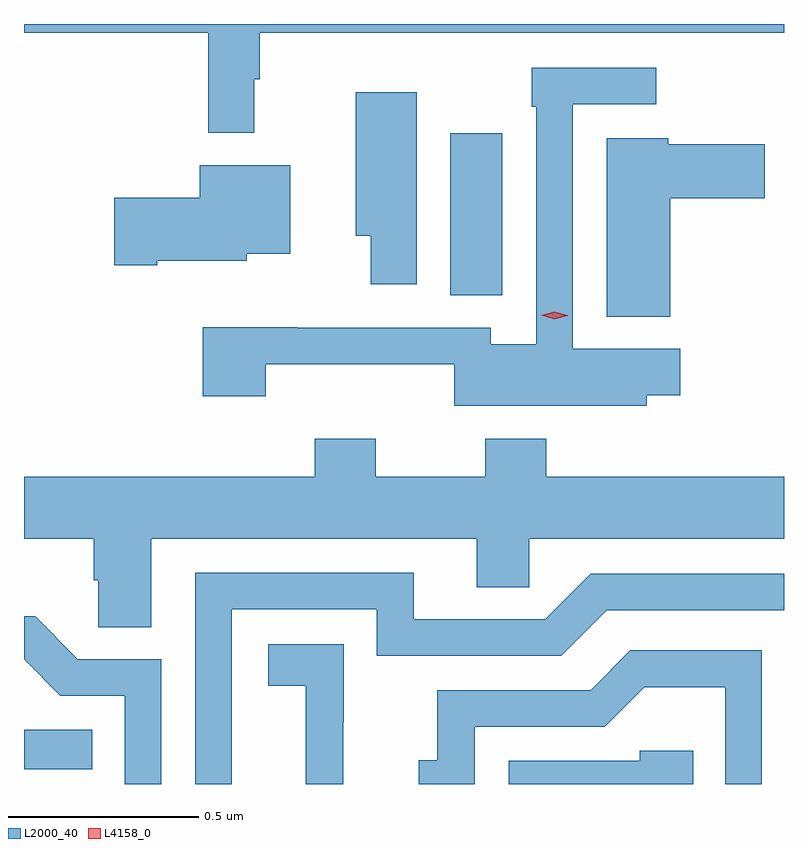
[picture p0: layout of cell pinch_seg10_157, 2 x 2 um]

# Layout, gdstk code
import gdstk
lib = gdstk.Library(unit=1e-6, precision=1e-09)
def R(c, l, rs):  # rectangles x0, y0, x1, y1
    for r in rs: c.add(gdstk.rectangle(r[:2], r[2:], *l))
def P(c, l, *ps):  # polygons
    for p in ps: c.add(gdstk.Polygon(p, *l))
L2000_40 = (2000, 40)
L4158_0 = (4158, 0)

pinch_seg10_157 = lib.new_cell('pinch_seg10_157')
R(pinch_seg10_157, L2000_40, [(670.388,1274.402,670.568,1274.506), (671.51,1275.649,671.647,1276.075)])
P(pinch_seg10_157, L2000_40, [(670.994,1276.217),(671.009,1276.217),(671.009,1276.34),(672.388,1276.34),(672.388,1276.363),(670.388,1276.363),(670.388,1276.34),(670.873,1276.34),(670.873,1276.077),(670.994,1276.077)],
  [(672.027,1275.386),(672.115,1275.386),(672.115,1275.508),(671.832,1275.508),(671.832,1276.152),(672.052,1276.152),(672.052,1276.248),(671.724,1276.248),(671.724,1276.145),(671.736,1276.145),(671.736,1275.52),(671.616,1275.52),(671.616,1275.564),(671.107,1275.564),(671.107,1275.565),(670.859,1275.565),(670.859,1275.384),(671.024,1275.384),(671.024,1275.467),(671.52,1275.467),(671.52,1275.359),(672.027,1275.359)],
  [(671.422,1276.183),(671.261,1276.183),(671.261,1275.806),(671.3,1275.806),(671.3,1275.678),(671.422,1275.678)],
  [(672.088,1275.905),(672.337,1275.905),(672.337,1276.047),(672.084,1276.047),(672.084,1276.063),(671.921,1276.063),(671.921,1275.593),(672.088,1275.593)],
  [(670.738,1275.74),(670.974,1275.74),(670.974,1275.758),(671.089,1275.758),(671.089,1275.991),(670.85,1275.991),(670.85,1275.906),(670.626,1275.906),(670.626,1275.728),(670.738,1275.728)],
  [(671.313,1275.271),(671.153,1275.271),(671.153,1275.172),(670.388,1275.172),(670.388,1275.008),(670.571,1275.008),(670.571,1274.899),(670.584,1274.899),(670.584,1274.776),(670.723,1274.776),(670.723,1275.008),(671.579,1275.008),(671.579,1274.881),(671.718,1274.881),(671.718,1275.008),(672.388,1275.008),(672.388,1275.172),(671.762,1275.172),(671.762,1275.271),(671.602,1275.271),(671.602,1275.172),(671.313,1275.172)],
  [(670.935,1274.823),(671.316,1274.823),(671.316,1274.7),(671.802,1274.7),(671.922,1274.82),(672.388,1274.82),(672.388,1274.916),(671.88,1274.916),(671.76,1274.796),(671.413,1274.796),(671.413,1274.919),(670.839,1274.919),(670.839,1274.363),(670.935,1274.363)],
  [(670.749,1274.691),(670.53,1274.691),(670.417,1274.804),(670.388,1274.804),(670.388,1274.691),(670.484,1274.595),(670.653,1274.595),(670.653,1274.363),(670.749,1274.363)],
  [(671.228,1274.525),(671.229,1274.525),(671.229,1274.731),(671.031,1274.731),(671.031,1274.621),(671.129,1274.621),(671.129,1274.393),(671.13,1274.393),(671.13,1274.363),(671.228,1274.363)],
  [(671.574,1274.514),(671.916,1274.514),(672.02,1274.618),(672.234,1274.618),(672.234,1274.363),(672.33,1274.363),(672.33,1274.715),(671.984,1274.715),(671.879,1274.61),(671.476,1274.61),(671.476,1274.425),(671.427,1274.425),(671.427,1274.363),(671.574,1274.363)],
  [(672.149,1274.451),(672.009,1274.451),(672.009,1274.424),(671.664,1274.424),(671.664,1274.363),(672.149,1274.363)])
P(pinch_seg10_157, L4158_0, [(671.783,1275.586),(671.749,1275.597),(671.748,1275.597),(671.749,1275.597),(671.784,1275.606),(671.819,1275.596),(671.819,1275.596),(671.819,1275.595)])

lib.write_gds('pinch_seg10_157.gds')
